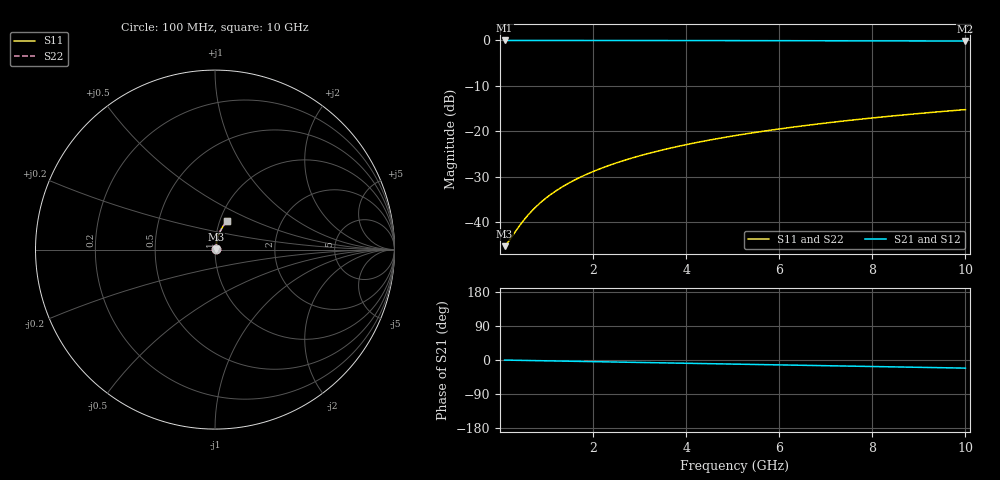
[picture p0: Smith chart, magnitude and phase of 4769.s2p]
# Hz S RI R 50.00
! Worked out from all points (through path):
!   100 points, 100 MHz to 10 GHz, reference 50 ohm
!   highest |S21| = -0.04 dB at 100 MHz (marker M1); lowest = -0.2 dB at 10 GHz (marker M2)
!   group delay of S21, straight-line fit = 5.95 ps
!   lowest |S11| = -45.3 dB at 100 MHz (marker M3), VSWR 1.01, Z = 50.5 + j0.178 ohm
!   |S11| at or under -10 dB: start of sweep to end of sweep
!   |S22| runs from -45.3 to -15.3 dB; largest |S21 - S12| = 0
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1e8  0.00514 0.00176  0.9949 -0.00374  0.9949 -0.00374  0.00514 0.00176
2e8  0.00519 0.00352  0.9948 -0.00749  0.9948 -0.00749  0.00519 0.00352
4e8  0.00532 0.00704  0.9946 -0.015  0.9946 -0.015  0.00532 0.00704
5e8  0.00539 0.0088  0.9945 -0.0187  0.9945 -0.0187  0.00539 0.0088
6e8  0.00548 0.0106  0.9944 -0.0225  0.9944 -0.0225  0.00548 0.0106
7e8  0.00558 0.0123  0.9943 -0.0262  0.9943 -0.0262  0.00558 0.0123
9e8  0.00582 0.0158  0.994 -0.0337  0.994 -0.0337  0.00582 0.0158
1.1e9  0.0061 0.0193  0.9936 -0.0411  0.9936 -0.0411  0.0061 0.0193
1.3e9  0.00644 0.0228  0.9932 -0.0486  0.9932 -0.0486  0.00644 0.0228
1.5e9  0.00682 0.0263  0.9927 -0.0561  0.9927 -0.0561  0.00682 0.0263
1.8e9  0.0075 0.0316  0.9918 -0.0673  0.9918 -0.0673  0.0075 0.0316
2.1e9  0.00829 0.0368  0.9908 -0.0784  0.9908 -0.0784  0.00829 0.0368
2.5e9  0.00953 0.0437  0.9892 -0.0933  0.9892 -0.0933  0.00953 0.0437
2.9e9  0.011 0.0506  0.9873 -0.1081  0.9873 -0.1081  0.011 0.0506
3.4e9  0.0131 0.0591  0.9846 -0.1266  0.9846 -0.1266  0.0131 0.0591
4.2e9  0.0171 0.0726  0.9794 -0.1559  0.9794 -0.1559  0.0171 0.0726
5.1e9  0.0225 0.0874  0.9723 -0.1886  0.9723 -0.1886  0.0225 0.0874
5.9e9  0.0282 0.1001  0.9648 -0.2173  0.9648 -0.2173  0.0282 0.1001
6.7e9  0.0346 0.1125  0.9564 -0.2456  0.9564 -0.2456  0.0346 0.1125
7.5e9  0.0417 0.1245  0.947 -0.2736  0.947 -0.2736  0.0417 0.1245
8.4e9  0.0505 0.1374  0.9353 -0.3044  0.9353 -0.3044  0.0505 0.1374
1e10  0.0681 0.1587  0.9116 -0.3577  0.9116 -0.3577  0.0681 0.1587
